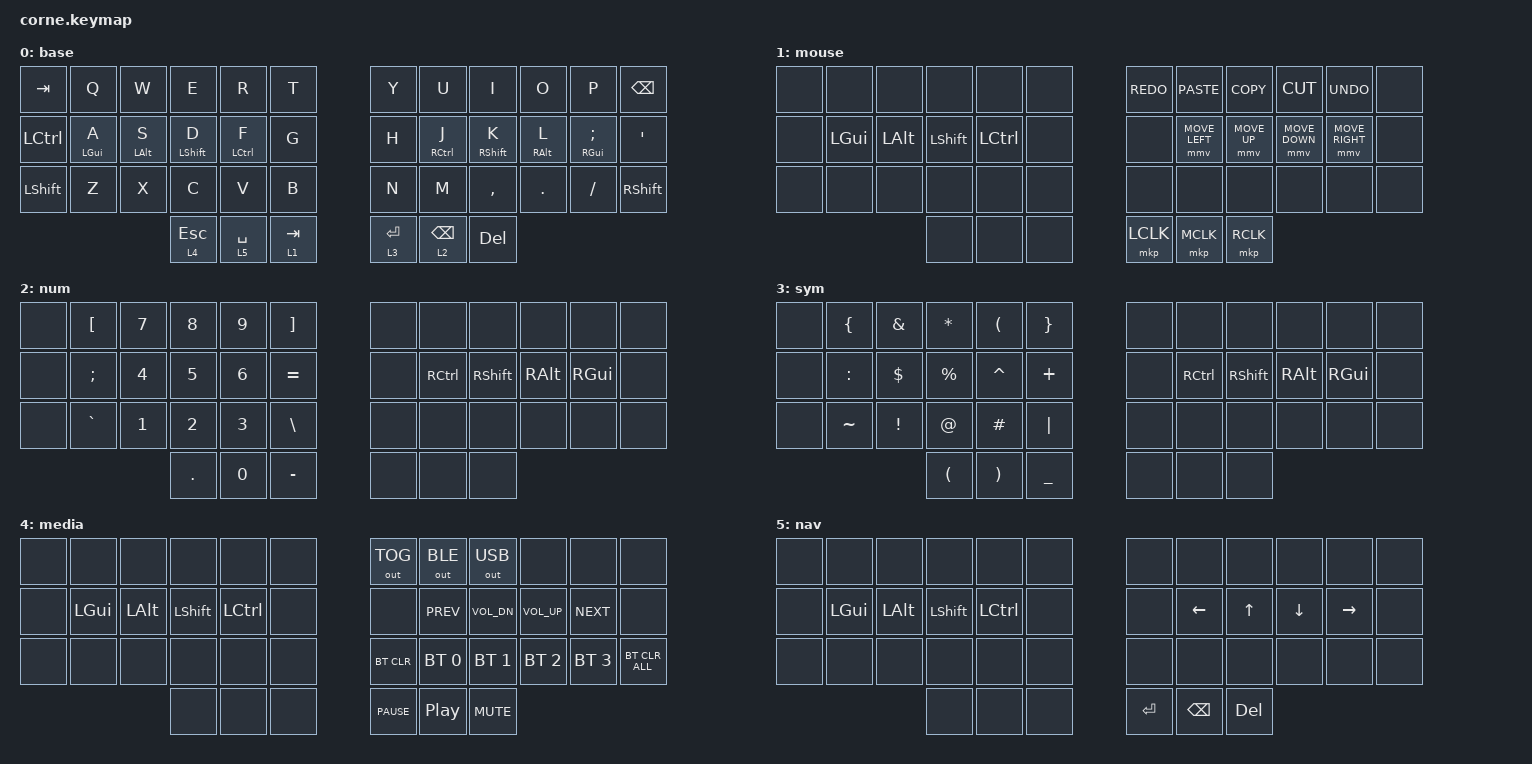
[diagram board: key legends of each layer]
/*
 * Copyright (c) 2020 The ZMK Contributors
 *
 * SPDX-License-Identifier: MIT
 */

#include <behaviors.dtsi>
#include <dt-bindings/zmk/bt.h>
#include <dt-bindings/zmk/keys.h>
#include <dt-bindings/zmk/outputs.h>
#include <dt-bindings/zmk/pointing.h>

/ {
    behaviors {
        bhm: balanced_homerow_mods {
            compatible = "zmk,behavior-hold-tap";
            #binding-cells = <2>;
            tapping-term-ms = <180>;
            quick-tap-ms = <200>;
            flavor = "balanced";
            bindings = <&kp>, <&kp>;
        };
    };

    combos {
        compatible = "zmk,combos";

        combo_caps {
            bindings = <&caps_word>;
            key-positions = <15 20>;
        };
    };

    keymap {
        compatible = "zmk,keymap";

        base {
            // -----------------------------------------------------------------------------------------
            // |  TAB |  Q  |  W  |  E  |  R  |  T  |   |  Y  |  U   |  I  |  O  |  P  | BSPC |
            // | CTRL |  A  |  S  |  D  |  F  |  G  |   |  H  |  J   |  K  |  L  |  ;  |  '   |
            // | SHFT |  Z  |  X  |  C  |  V  |  B  |   |  N  |  M   |  ,  |  .  |  /  | ESC  |
            //                    | GUI | LWR | SPC |   | ENT | RSE  | ALT |

            bindings = <
&kp TAB    &kp Q        &kp W        &kp E          &kp R         &kp T        &kp Y        &kp U            &kp I          &kp O        &kp P           &kp BSPC
&kp LCTRL  &bhm LGUI A  &bhm LALT S  &bhm LSHIFT D  &bhm LCTRL F  &kp G        &kp H        &bhm RCTRL J     &bhm RSHIFT K  &bhm RALT L  &bhm RGUI SEMI  &kp SQT
&kp LSHFT  &kp Z        &kp X        &kp C          &kp V         &kp B        &kp N        &kp M            &kp COMMA      &kp DOT      &kp FSLH        &kp RIGHT_SHIFT
                                     &lt 4 ESCAPE   &lt 5 SPACE   &lt 1 TAB    &lt 3 ENTER  &lt 2 BACKSPACE  &kp DELETE
            >;
        };

        mouse {
            bindings = <
&none  &none     &none     &none      &none      &none    &kp K_REDO  &kp K_PASTE     &kp K_COPY      &kp K_CUT       &kp K_UNDO       &none
&none  &kp LGUI  &kp LALT  &kp LSHFT  &kp LCTRL  &none    &none       &mmv MOVE_LEFT  &mmv MOVE_UP    &mmv MOVE_DOWN  &mmv MOVE_RIGHT  &none
&none  &none     &none     &none      &none      &none    &none       &none           &none           &none           &none            &none
                           &none      &none      &none    &mkp LCLK   &mkp MCLK       &mkp RCLK
            >;
        };

        num {
            // -----------------------------------------------------------------------------------------
            // |  TAB |  1  |  2  |  3  |  4  |  5  |   |  6  |  7  |  8  |  9  |  0  | BSPC |
            // |      |     |     |     |     |     |   | LFT | DWN |  UP | RGT |     |      |
            // | SHFT |     |     |     |     |     |   |     |     |     |     |     |      |
            //                    | GUI |     | SPC |   | ENT |     | ALT |

            bindings = <
&none  &kp LBKT   &kp N7  &kp N8      &kp N9  &kp RBKT     &none  &none      &none      &none     &none     &none
&none  &kp SEMI   &kp N4  &kp N5      &kp N6  &kp EQUAL    &none  &kp RCTRL  &kp RSHFT  &kp RALT  &kp RGUI  &none
&none  &kp GRAVE  &kp N1  &kp N2      &kp N3  &kp BSLH     &none  &none      &none      &none     &none     &none
                          &kp PERIOD  &kp N0  &kp MINUS    &none  &none      &none
            >;
        };

        sym {
            bindings = <
&none  &kp LEFT_BRACE  &kp AMPERSAND    &kp ASTERISK          &kp LEFT_PARENTHESIS   &kp RIGHT_BRACE    &none  &none      &none      &none     &none     &none
&none  &kp COLON       &kp DOLLAR       &kp PERCENT           &kp CARET              &kp PLUS           &none  &kp RCTRL  &kp RSHFT  &kp RALT  &kp RGUI  &none
&none  &kp TILDE       &kp EXCLAMATION  &kp AT                &kp HASH               &kp PIPE           &none  &none      &none      &none     &none     &none
                                        &kp LEFT_PARENTHESIS  &kp RIGHT_PARENTHESIS  &kp UNDER          &none  &none      &none
            >;
        };

        media {
            bindings = <
&none  &none     &none     &none      &none      &none    &out OUT_TOG  &out OUT_BLE      &out OUT_USB  &none         &none         &none
&none  &kp LGUI  &kp LALT  &kp LSHFT  &kp LCTRL  &none    &none         &kp C_PREV        &kp C_VOL_DN  &kp C_VOL_UP  &kp C_NEXT    &none
&none  &none     &none     &none      &none      &none    &bt BT_CLR    &bt BT_SEL 0      &bt BT_SEL 1  &bt BT_SEL 2  &bt BT_SEL 3  &bt BT_CLR_ALL
                           &none      &none      &none    &kp C_PAUSE   &kp C_PLAY_PAUSE  &kp K_MUTE
            >;
        };

        nav {
            bindings = <
&none  &none     &none     &none      &none      &none    &none      &none          &none       &none     &none      &none
&none  &kp LGUI  &kp LALT  &kp LSHFT  &kp LCTRL  &none    &none      &kp LEFT       &kp UP      &kp DOWN  &kp RIGHT  &none
&none  &none     &none     &none      &none      &none    &none      &none          &none       &none     &none      &none
                           &none      &none      &none    &kp ENTER  &kp BACKSPACE  &kp DELETE
            >;
        };
    };
};
